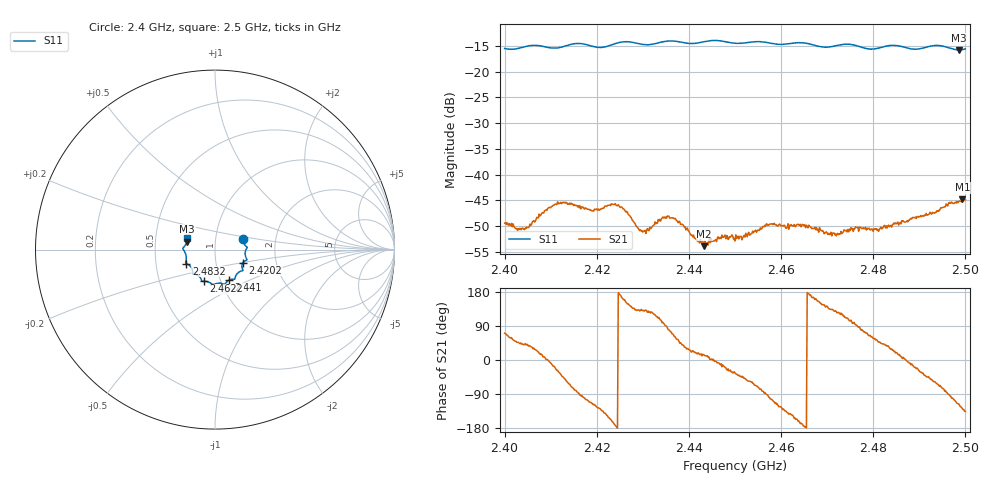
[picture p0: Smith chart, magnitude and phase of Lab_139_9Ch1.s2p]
# Hz S RI R 50
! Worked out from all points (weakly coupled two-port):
!   601 points, 2.4 GHz to 2.5 GHz, reference 50 ohm
!   highest |S21| = -44.80 dB at 2.4993 GHz (marker M1); lowest = -53.9 dB at 2.4433 GHz (marker M2)
!   lowest |S11| = -15.8 dB at 2.4987 GHz (marker M3), VSWR 1.39, Z = 36.4 + j3.35 ohm
!   |S11| at or under -10 dB: start of sweep to end of sweep
!   S12 and S22 are empty: the file has one direction only
!   S11 on the Smith chart (normalised r, x): 2.4 GHz: 1.36, +0.17; 2.4202 GHz: 1.35, -0.20; 2.441 GHz: 1.09, -0.39; 2.4622 GHz: 0.83, -0.30; 2.4832 GHz: 0.72, -0.12; 2.5 GHz: 0.73, +0.09
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2.4e9  0.1566 0.0595  0.00111 0.0032  0 0  0 0
2.404167e9  0.1723 0.0191  0.00224 0.0019  0 0  0 0
2.411e9  0.1678 -0.0192  0.00482 -0.00187  0 0  0 0
2.416667e9  0.1772 -0.0584  -0.000481 -0.00483  0 0  0 0
2.420167e9  0.1559 -0.0725  -0.00259 -0.00371  0 0  0 0
2.425e9  0.1557 -0.1125  -0.0048 0.00065  0 0  0 0
2.430167e9  0.1324 -0.1263  -0.00185 0.00214  0 0  0 0
2.433333e9  0.1129 -0.1523  -0.00128 0.00343  0 0  0 0
2.436667e9  0.1091 -0.1652  0.00154 0.00343  0 0  0 0
2.441e9  0.0766 -0.171  0.0024 0.000952  0 0  0 0
2.443333e9  0.0598 -0.1856  0.00197 0.000455  0 0  0 0
2.447333e9  0.0465 -0.1914  0.0024 -0.000552  0 0  0 0
2.45e9  0.026 -0.1866  0.00188 -0.00127  0 0  0 0
2.457333e9  -0.0209 -0.1889  -0.00048 -0.0032  0 0  0 0
2.462167e9  -0.0632 -0.1766  -0.00264 -0.00192  0 0  0 0
2.466667e9  -0.0767 -0.1665  -0.00289 0.000771  0 0  0 0
2.472167e9  -0.1163 -0.1366  -0.0015 0.0022  0 0  0 0
2.483167e9  -0.1597 -0.0782  0.00252 0.00193  0 0  0 0
2.483333e9  -0.1604 -0.0778  0.0026 0.00191  0 0  0 0
2.498667e9  -0.1558 0.0448  -0.00255 -0.00489  0 0  0 0
2.499333e9  -0.154 0.0541  -0.00355 -0.00452  0 0  0 0
2.5e9  -0.1535 0.0632  -0.00407 -0.00399  0 0  0 0
